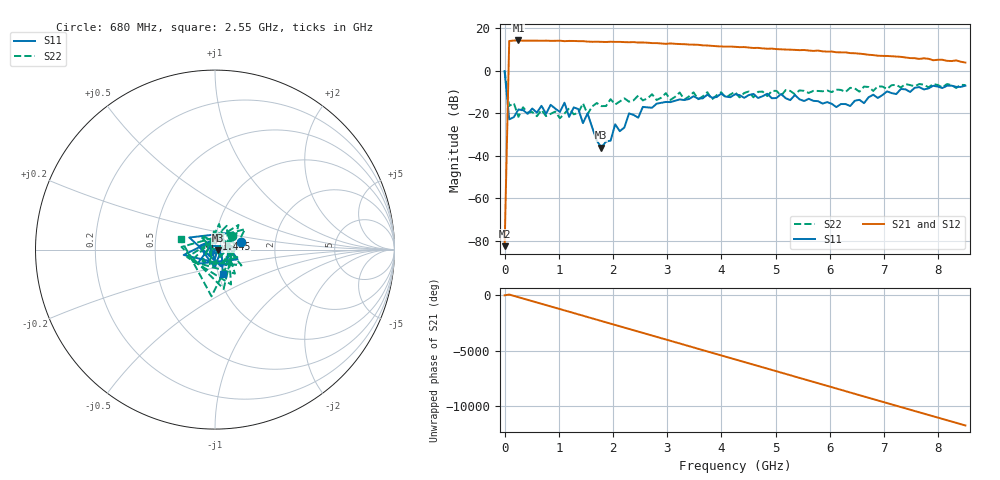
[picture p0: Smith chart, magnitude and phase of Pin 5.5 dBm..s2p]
! RsaToolbox (C) 2013 Rohde & Schwarz America
! Number of points: 101
! Number of ports: 2
! Balanced ports?: 0
# Hz S RI R 50
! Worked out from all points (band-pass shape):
!   101 points, 9 kHz to 8.5 GHz, reference 50 ohm
!   highest |S21| = 14.31 dB at 255 MHz (marker M1); lowest = -82.6 dB at 9 kHz (marker M2)
!   |S21| within 3 dB of the highest: 82.6 MHz to 4.252 GHz (4.169 GHz wide, 192 % of centre)
!   lowest |S11| = -36.2 dB at 1.785 GHz (marker M3), VSWR 1.03, Z = 51.5 - j0.431 ohm
!   |S11| at or under -10 dB: 36.95 MHz to 7.039 GHz (7.002 GHz wide, 198 % of centre); 7.088 GHz to 7.259 GHz (170.9 MHz wide, 2.38 % of centre)
!   |S22| runs from -22.3 to 0.0 dB; largest |S21 - S12| = 0
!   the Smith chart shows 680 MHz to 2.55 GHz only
!   S11 on the Smith chart (normalised r, x): 680 MHz: 1.33, +0.11; 1.445 GHz: 1.00, +0.12; 2.55 GHz: 1.05, -0.29
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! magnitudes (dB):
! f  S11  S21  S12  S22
! 9 kHz  -0.1  -82.6  -82.6  0.0
! 85.01 MHz  -22.9  14.0  14.0  -16.5
! 170 MHz  -21.9  14.3  14.3  -15.2
! 255 MHz  -18.2  14.3  14.3  -21.7
! 680 MHz  -16.5  14.2  14.2  -18.5
! 1.02 GHz  -19.4  14.2  14.2  -22.3
! 1.105 GHz  -15.0  14.0  14.0  -20.1
! 1.19 GHz  -21.7  14.1  14.1  -17.6
! 1.36 GHz  -18.0  14.0  14.0  -19.8
! 1.445 GHz  -24.6  14.0  14.0  -15.3
! 1.53 GHz  -20.1  13.8  13.8  -20.4
! 1.785 GHz  -36.2  13.7  13.7  -16.6
! 1.955 GHz  -32.9  13.7  13.7  -13.4
! 2.04 GHz  -25.2  13.6  13.6  -15.9
! 2.125 GHz  -28.5  13.6  13.6  -14.4
! 2.55 GHz  -17.0  13.4  13.4  -13.9
! 2.89 GHz  -15.1  12.9  12.9  -12.7
! 4.25 GHz  -11.1  11.3  11.3  -9.9
! 5.695 GHz  -14.2  9.4  9.4  -9.5
! 6.375 GHz  -16.6  8.4  8.4  -8.0
! 7.14 GHz  -10.5  6.9  6.9  -6.8
! 8.5 GHz  -7.0  3.9  3.9  -6.7
